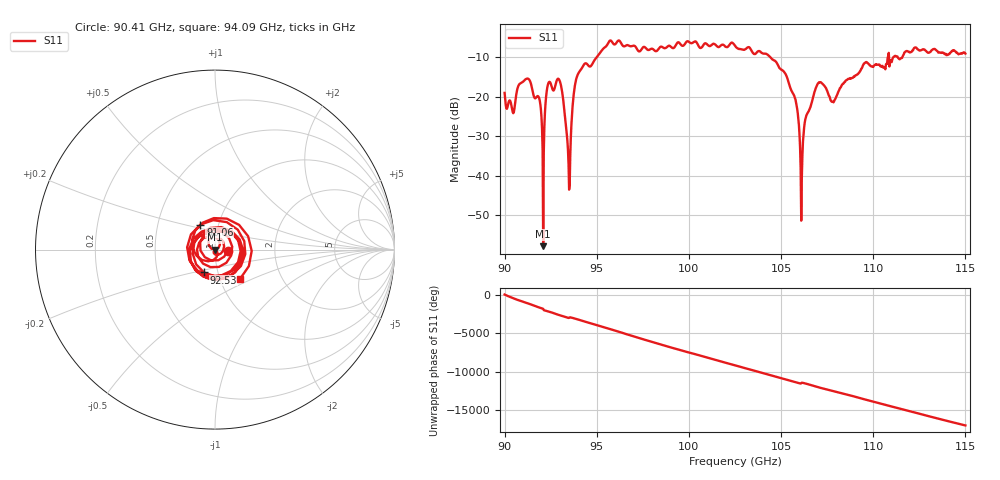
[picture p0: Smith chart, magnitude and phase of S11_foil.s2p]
!Agilent Technologies,E8363B,MY43030303,A.07.50.37
!Agilent E8363B: A.07.50.37
!Date: Thursday, February 02, 2012 01:57:40
!Correction: S11(Off)
!S21(Off)
!S12(Off)
!S22(Off)
!S2P File: Measurements: S11, S21, S12, S22:
# Hz S  dB  R 50
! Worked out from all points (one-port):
!   801 points, 90 GHz to 115 GHz, reference 50 ohm
!   lowest |S11| = -57.8 dB at 92.09 GHz (marker M1), VSWR 1.00, Z = 50.1 - j0.0532 ohm
!   |S11| at or under -10 dB: start of sweep to 94.99 GHz; 104.4 GHz to 110.8 GHz (6.361 GHz wide, 5.91 % of centre); 111.336 GHz to 111.5718 GHz (235.9 MHz wide, 0.212 % of centre) (the widest 3 of 4)
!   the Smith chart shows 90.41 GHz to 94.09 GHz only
!   S11 on the Smith chart (normalised r, x): 90.41 GHz: 1.15, -0.01; 91.06 GHz: 0.82, +0.23; 92.53 GHz: 0.86, -0.22; 94.09 GHz: 1.24, -0.43
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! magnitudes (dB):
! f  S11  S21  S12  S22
! 90 GHz  -19.0  -  -  -
! 90.41 GHz  -23.1  -  -  -
! 91.06 GHz  -15.8  -  -  -
! 91.84 GHz  -20.0  -  -  -
! 92.09 GHz  -57.8  -  -  -
! 92.31 GHz  -17.7  -  -  -
! 92.53 GHz  -17.0  -  -  -
! 93.03 GHz  -16.6  -  -  -
! 93.47 GHz  -37.0  -  -  -
! 93.81 GHz  -17.1  -  -  -
! 94.09 GHz  -13.4  -  -  -
! 94.19 GHz  -12.7  -  -  -
! 95.72 GHz  -5.7  -  -  -
! 98.34 GHz  -7.9  -  -  -
! 102.5 GHz  -7.0  -  -  -
! 105.2 GHz  -14.0  -  -  -
! 105.8 GHz  -21.4  -  -  -
! 106.1 GHz  -51.4  -  -  -
! 106.7 GHz  -21.0  -  -  -
! 107.1 GHz  -16.3  -  -  -
! 110.8 GHz  -8.8  -  -  -
! 115 GHz  -9.0  -  -  -
